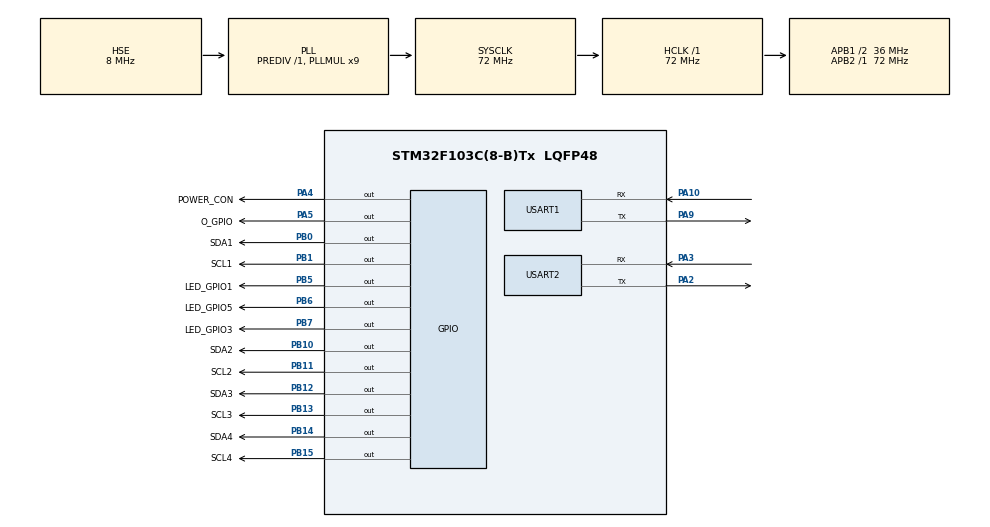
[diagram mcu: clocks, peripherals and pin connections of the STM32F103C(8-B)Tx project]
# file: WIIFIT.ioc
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FREERTOS.Tasks01=defaultTask,0,128,StartDefaultTask,Default,NULL,Dynamic,NULL,NULL
Mcu.Family=STM32F1
Mcu.Name=STM32F103C(8-B)Tx
Mcu.Package=LQFP48
NVIC.PriorityGroup=NVIC_PRIORITYGROUP_4
NVIC.TIM1_UP_IRQn=true\:0\:0\:false\:false\:true\:false\:false\:true
NVIC.TimeBase=TIM1_UP_IRQn
NVIC.TimeBaseIP=TIM1
NVIC.USART1_IRQn=true\:0\:0\:false\:false\:true\:false\:true\:true
NVIC.USART2_IRQn=true\:0\:0\:false\:false\:true\:false\:true\:true
PA10.Mode=Asynchronous
PA10.Signal=USART1_RX
PA13.Mode=JTAG_5_pins
PA13.Signal=SYS_JTMS-SWDIO
PA14.Mode=JTAG_5_pins
PA14.Signal=SYS_JTCK-SWCLK
PA15.Mode=JTAG_5_pins
PA15.Signal=SYS_JTDI
PA2.Mode=Asynchronous
PA2.Signal=USART2_TX
PA3.Mode=Asynchronous
PA3.Signal=USART2_RX
PA4.GPIO_Label=POWER_CON
PA4.Signal=GPIO_Output
PA5.GPIO_Label=O_GPIO
PA5.Signal=GPIO_Output
PA9.Mode=Asynchronous
PA9.Signal=USART1_TX
PB0.GPIO_Label=SDA1
PB0.Signal=GPIO_Output
PB1.GPIO_Label=SCL1
PB1.Signal=GPIO_Output
PB10.GPIO_Label=SDA2
PB10.Signal=GPIO_Output
PB11.GPIO_Label=SCL2
PB11.Signal=GPIO_Output
PB12.GPIO_Label=SDA3
PB12.Signal=GPIO_Output
PB13.GPIO_Label=SCL3
PB13.Signal=GPIO_Output
PB14.GPIO_Label=SDA4
PB14.Signal=GPIO_Output
PB15.GPIO_Label=SCL4
PB15.Signal=GPIO_Output
PB3.Mode=JTAG_5_pins
PB3.Signal=SYS_JTDO-TRACESWO
PB4.Mode=JTAG_5_pins
PB4.Signal=SYS_NJTRST
PB5.GPIO_Label=LED_GPIO1
PB5.Signal=GPIO_Output
PB6.GPIO_Label=LED_GPIO5
PB6.Signal=GPIO_Output
PB7.GPIO_Label=LED_GPIO3
PB7.Signal=GPIO_Output
PD0-OSC_IN.Mode=HSE-External-Oscillator
PD0-OSC_IN.Signal=RCC_OSC_IN
PD1-OSC_OUT.Mode=HSE-External-Oscillator
PD1-OSC_OUT.Signal=RCC_OSC_OUT
ProjectManager.HeapSize=0x200
ProjectManager.StackSize=0x400
ProjectManager.TargetToolchain=STM32CubeIDE
RCC.AHBFreq_Value=72000000
RCC.APB1CLKDivider=RCC_HCLK_DIV2
RCC.APB1Freq_Value=36000000
RCC.APB1TimFreq_Value=72000000
RCC.APB2Freq_Value=72000000
RCC.APB2TimFreq_Value=72000000
RCC.HCLKFreq_Value=72000000
RCC.PLLMUL=RCC_PLL_MUL9
RCC.PLLSourceVirtual=RCC_PLLSOURCE_HSE
RCC.SYSCLKFreq_VALUE=72000000
RCC.SYSCLKSource=RCC_SYSCLKSOURCE_PLLCLK
RCC.USBFreq_Value=72000000
USART1.VirtualMode=VM_ASYNC
USART2.VirtualMode=VM_ASYNC
VP_FREERTOS_VS_CMSIS_V1.Mode=CMSIS_V1
VP_SYS_VS_tim1.Mode=TIM1
board=custom

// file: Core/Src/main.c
/* USER CODE BEGIN Header */
/**
  ******************************************************************************
  * @file           : main.c
  * @brief          : Main program body
  ******************************************************************************
  * @attention
  *
  * <h2><center>&copy; Copyright (c) 2021 STMicroelectronics.
  * All rights reserved.</center></h2>
  *
  * This software component is licensed by ST under BSD 3-Clause license,
  * the "License"; You may not use this file except in compliance with the
  * License. You may obtain a copy of the License at:
  *                        opensource.org/licenses/BSD-3-Clause
  *
  ******************************************************************************
  */
/* USER CODE END Header */
#include "main.h"
#include "cmsis_os.h"

/* USER CODE BEGIN Includes */
#include "peripherial.h"
#include "ads1110.h"

#include <stdio.h>
#include <string.h>
/* USER CODE END Includes */

/* USER CODE BEGIN PTD */
//#define	BOARD_MASTER			1
/* USER CODE END PTD */

UART_HandleTypeDef huart1;
UART_HandleTypeDef huart2;

osThreadId defaultTaskHandle;
/* USER CODE BEGIN PV */
osThreadId secondCommTaskHandle;

/* USER CODE END PV */

void SystemClock_Config(void);
static void MX_GPIO_Init(void);
static void MX_USART1_UART_Init(void);
static void MX_USART2_UART_Init(void);
void StartDefaultTask(void const * argument);

int main(void)
{

  /* MCU Configuration--------------------------------------------------------*/

  /* Reset of all peripherals, Initializes the Flash interface and the Systick. */
  HAL_Init();

  /* USER CODE BEGIN Init */

  //added example code.

  /* USER CODE END Init */

  /* Configure the system clock */
  SystemClock_Config();

  /* Initialize all configured peripherals */
  MX_GPIO_Init();
  MX_USART1_UART_Init();
  MX_USART2_UART_Init();
  /* USER CODE BEGIN 2 */
  PowerOn();
  TurnOnPowerLED();
  /* USER CODE END 2 */

  /* Create the thread(s) */
  /* definition and creation of defaultTask */
  osThreadDef(defaultTask, StartDefaultTask, osPriorityNormal, 0, 128);
  defaultTaskHandle = osThreadCreate(osThread(defaultTask), NULL);

  /* Start scheduler */
  osKernelStart();

  /* We should never get here as control is now taken by the scheduler */
  /* Infinite loop */
  while (1)
  {

  }
}

void SystemClock_Config(void)
{
  RCC_OscInitTypeDef RCC_OscInitStruct = {0};
  RCC_ClkInitTypeDef RCC_ClkInitStruct = {0};

  /** Initializes the RCC Oscillators according to the specified parameters
  * in the RCC_OscInitTypeDef structure.
  */
  RCC_OscInitStruct.OscillatorType = RCC_OSCILLATORTYPE_HSE;
  RCC_OscInitStruct.HSEState = RCC_HSE_ON;
  RCC_OscInitStruct.HSEPredivValue = RCC_HSE_PREDIV_DIV1;
  RCC_OscInitStruct.HSIState = RCC_HSI_ON;
  RCC_OscInitStruct.PLL.PLLState = RCC_PLL_ON;
  RCC_OscInitStruct.PLL.PLLSource = RCC_PLLSOURCE_HSE;
  RCC_OscInitStruct.PLL.PLLMUL = RCC_PLL_MUL9;
  if (HAL_RCC_OscConfig(&RCC_OscInitStruct) != HAL_OK)
  {
    Error_Handler();
  }
  /** Initializes the CPU, AHB and APB buses clocks
  */
  RCC_ClkInitStruct.ClockType = RCC_CLOCKTYPE_HCLK|RCC_CLOCKTYPE_SYSCLK
                              |RCC_CLOCKTYPE_PCLK1|RCC_CLOCKTYPE_PCLK2;
  RCC_ClkInitStruct.SYSCLKSource = RCC_SYSCLKSOURCE_PLLCLK;
  RCC_ClkInitStruct.AHBCLKDivider = RCC_SYSCLK_DIV1;
  RCC_ClkInitStruct.APB1CLKDivider = RCC_HCLK_DIV2;
  RCC_ClkInitStruct.APB2CLKDivider = RCC_HCLK_DIV1;

  if (HAL_RCC_ClockConfig(&RCC_ClkInitStruct, FLASH_LATENCY_2) != HAL_OK)
  {
    Error_Handler();
  }
}

static void MX_USART1_UART_Init(void)
{

  huart1.Instance = USART1;
  huart1.Init.BaudRate = 115200;
  huart1.Init.WordLength = UART_WORDLENGTH_8B;
  huart1.Init.StopBits = UART_STOPBITS_1;
  huart1.Init.Parity = UART_PARITY_NONE;
  huart1.Init.Mode = UART_MODE_TX_RX;
  huart1.Init.HwFlowCtl = UART_HWCONTROL_NONE;
  huart1.Init.OverSampling = UART_OVERSAMPLING_16;
  if (HAL_UART_Init(&huart1) != HAL_OK)
  {
    Error_Handler();
  }

}

static void MX_USART2_UART_Init(void)
{

  huart2.Instance = USART2;
  huart2.Init.BaudRate = 115200;
  huart2.Init.WordLength = UART_WORDLENGTH_8B;
  huart2.Init.StopBits = UART_STOPBITS_1;
  huart2.Init.Parity = UART_PARITY_NONE;
  huart2.Init.Mode = UART_MODE_TX_RX;
  huart2.Init.HwFlowCtl = UART_HWCONTROL_NONE;
  huart2.Init.OverSampling = UART_OVERSAMPLING_16;
  if (HAL_UART_Init(&huart2) != HAL_OK)
  {
    Error_Handler();
  }

}

static void MX_GPIO_Init(void)
{
  GPIO_InitTypeDef GPIO_InitStruct = {0};

  /* GPIO Ports Clock Enable */
  __HAL_RCC_GPIOD_CLK_ENABLE();
  __HAL_RCC_GPIOA_CLK_ENABLE();
  __HAL_RCC_GPIOB_CLK_ENABLE();

  /*Configure GPIO pin Output Level */
  HAL_GPIO_WritePin(GPIOA, POWER_CON_Pin|O_GPIO_Pin, GPIO_PIN_RESET);

  /*Configure GPIO pin Output Level */
  HAL_GPIO_WritePin(GPIOB, SDA1_Pin|SCL1_Pin|SDA2_Pin|SCL2_Pin
                          |SDA3_Pin|SCL3_Pin|SDA4_Pin|SCL4_Pin
                          |LED_GPIO1_Pin|LED_GPIO5_Pin|LED_GPIO3_Pin, GPIO_PIN_RESET);

  /*Configure GPIO pins : POWER_CON_Pin O_GPIO_Pin */
  GPIO_InitStruct.Pin = POWER_CON_Pin|O_GPIO_Pin;
  GPIO_InitStruct.Mode = GPIO_MODE_OUTPUT_PP;
  GPIO_InitStruct.Pull = GPIO_NOPULL;
  GPIO_InitStruct.Speed = GPIO_SPEED_FREQ_LOW;
  HAL_GPIO_Init(GPIOA, &GPIO_InitStruct);

  /*Configure GPIO pins : SDA1_Pin SCL1_Pin SDA2_Pin SCL2_Pin
                           SDA3_Pin SCL3_Pin SDA4_Pin SCL4_Pin
                           LED_GPIO1_Pin LED_GPIO5_Pin LED_GPIO3_Pin */
  GPIO_InitStruct.Pin = SDA1_Pin|SCL1_Pin|SDA2_Pin|SCL2_Pin
                          |SDA3_Pin|SCL3_Pin|SDA4_Pin|SCL4_Pin
                          |LED_GPIO1_Pin|LED_GPIO5_Pin|LED_GPIO3_Pin;
  GPIO_InitStruct.Mode = GPIO_MODE_OUTPUT_PP;
  GPIO_InitStruct.Pull = GPIO_NOPULL;
  GPIO_InitStruct.Speed = GPIO_SPEED_FREQ_LOW;
  HAL_GPIO_Init(GPIOB, &GPIO_InitStruct);

}

/* USER CODE BEGIN 4 */
#define UARTBUFFERSIZE			512
uint8_t aRxBuffer[1];
uint8_t bRxBuffer[1];
static int uartS, uartE;
static uint8_t uartRBuffer[UARTBUFFERSIZE];
static uint8_t crcTempBuf[32];
uint8_t send_buf[64];
uint8_t second_buf[32];

void StartUartReceiveProc(void)
{
    HAL_UART_Receive_IT(&huart1, aRxBuffer, 1);
}

void StartSecondReceiveProc(void)
{
    HAL_UART_Receive_IT(&huart2, bRxBuffer, 1);
}

void ReceiveByteFromUart2(uint8_t b)
{
    uartRBuffer[uartS] = b;
    uartS++;
    if (uartS >= UARTBUFFERSIZE)
        uartS -= UARTBUFFERSIZE;
}

static int GetRBufferSize(void)
{
	return (uartS + UARTBUFFERSIZE - uartE) % UARTBUFFERSIZE;
}

static uint8_t GetRBuffer(int idx)
{
	return uartRBuffer[(uartE + idx) % UARTBUFFERSIZE];
}

static void SetRBufferIndex(int size)
{
	uartE += size;
	if (uartE >= UARTBUFFERSIZE)
		uartE -= UARTBUFFERSIZE;
}

uint8_t turnoff;

void HAL_UART_RxCpltCallback(UART_HandleTypeDef *huart)
{
    if (huart->Instance == USART1)
    {
        //ReceiveByteFromUart1(aRxBuffer[0]);
    	if (aRxBuffer[0] == 'S') turnoff = 1;
        StartUartReceiveProc();
    }
    else if (huart->Instance == USART2)
    {
#ifdef BOARD_MASTER
        ReceiveByteFromUart2(bRxBuffer[0]);
#else
        if (bRxBuffer[0] == 'S') turnoff = 1;
#endif
        StartSecondReceiveProc();
    }
}

void SendDataToUSB(uint8_t * pData, uint16_t len)
{
    HAL_UART_Transmit(&huart1, pData, len, 300);
}

void SendDataToMaster(uint8_t * pData, uint16_t len)
{
    HAL_UART_Transmit(&huart2, pData, len, 300);
}

void SecondCommTask(void const * argument)
{
	int i;
    while(1)
    {
    	if (GetRBufferSize() >= 18)
    	{
    		crcTempBuf[0] = GetRBuffer(0);
            if (crcTempBuf[0] == 0xAA)
            {
				crcTempBuf[1] = GetRBuffer(1);
				if (crcTempBuf[1] == 0x55)
				{
					for (i = 2; i <= 18; i++)
						crcTempBuf[i] = GetRBuffer(i);
					memcpy(second_buf, crcTempBuf, 18);
					SetRBufferIndex(18);
				}
				else
				{
					SetRBufferIndex(2);
				}
            }
    		else
    		{
    			SetRBufferIndex(1);
    		}
    	}
        osDelay(5);
    }
}

char strTemp[32];

int myabs(int a)
{
	if (a < 0) return -a;
	return a;
}

int32_t val[4];
int32_t sig[4];
int32_t init_val[4] = {0, 0, 0, 0};
int32_t avg_val[4] = {0, 0, 0, 0};
/* USER CODE END 4 */

void StartDefaultTask(void const * argument)
{
  /* USER CODE BEGIN 5 */
	int i, j, k;
	//int sleep_cnt;

	osDelay(1000);

	turnoff = 0;

	uartS = 0;
	uartE = 0;

	TurnOnBoardLED(0);
	TurnOnBoardLED(1);
	InitADS1110();

	memset(second_buf, 0x00, sizeof(second_buf));

	StartSecondReceiveProc();
#ifdef BOARD_MASTER
    osThreadDef(secondCommTask, SecondCommTask, osPriorityNormal, 0, 128);
    secondCommTaskHandle = osThreadCreate(osThread(secondCommTask), NULL);
#endif

	for (k = 0; k < 10; k++)
	{
		for (i = 0; i < 4; i++)
			init_val[i] = 0;

		for (j = 0; j < 10; j++)
		{
			for (i = 0; i < 4; i++)
				init_val[i] += ReadAD(i);

			ToggleBoardLED(1);

			osDelay(100);
		}

		if (k >= 5)
		{
			for (i = 0; i < 4; i++)
				avg_val[i] += init_val[i] / 10;
		}
	}

	for (i = 0; i < 4; i++)
		avg_val[i] /= 5;

	TurnOffBoardLED(1);

	StartUartReceiveProc();

	for (i = 0; i < 4; i++)
		sig[i] = (avg_val[i] >= 0 ? 1 : -1);

  /* Infinite loop */
	for(;;)
	{
		for (i = 0; i < 4; i++)
		{
			//if (sig[i] == 1)
			//	val[i] = myabs(ReadAD(i) - avg_val[i]);
			//else
			//	val[i] = myabs(avg_val[i] - ReadAD(i));
			val[i] = ReadAD(i) - avg_val[i] + 100;
		}

		ToggleBoardLED(0);

#ifdef BOARD_MASTER
		//sprintf(strTemp, "%ld,%ld,%ld,%ld", val[0], val[1], val[2], val[3]);
		//SendDataToUSB((uint8_t *)strTemp, strlen(strTemp));
		//osDelay(100);
		send_buf[0] = 0xAA;
		send_buf[1] = 0x55;
		memcpy(&send_buf[2], val, sizeof(int32_t) * 4);
		memcpy(&send_buf[2 + sizeof(int32_t) * 4], &second_buf[2], sizeof(int32_t) * 4);
		SendDataToUSB(send_buf, sizeof(int32_t) * 4 * 2 + 2);

		if (turnoff == 1)
		{
			send_buf[0] = (uint8_t)'S';
			SendDataToMaster(send_buf, 1);
			osDelay(1000);
			PowerOff();
			osDelay(1000);
		}
#else
		send_buf[0] = 0xAA;
		send_buf[1] = 0x55;
		memcpy(&send_buf[2], val, sizeof(int32_t) * 4);
		SendDataToMaster(send_buf, sizeof(int32_t) * 4 + 2);
		if (turnoff == 1)
		{
			PowerOff();
			osDelay(1000);
		}
#endif

		//osDelay(100);
	}
  /* USER CODE END 5 */
}

void HAL_TIM_PeriodElapsedCallback(TIM_HandleTypeDef *htim)
{
  if (htim->Instance == TIM1) {
    HAL_IncTick();
  }
}

void Error_Handler(void)
{
}

/************************ (C) COPYRIGHT STMicroelectronics *****END OF FILE****/
